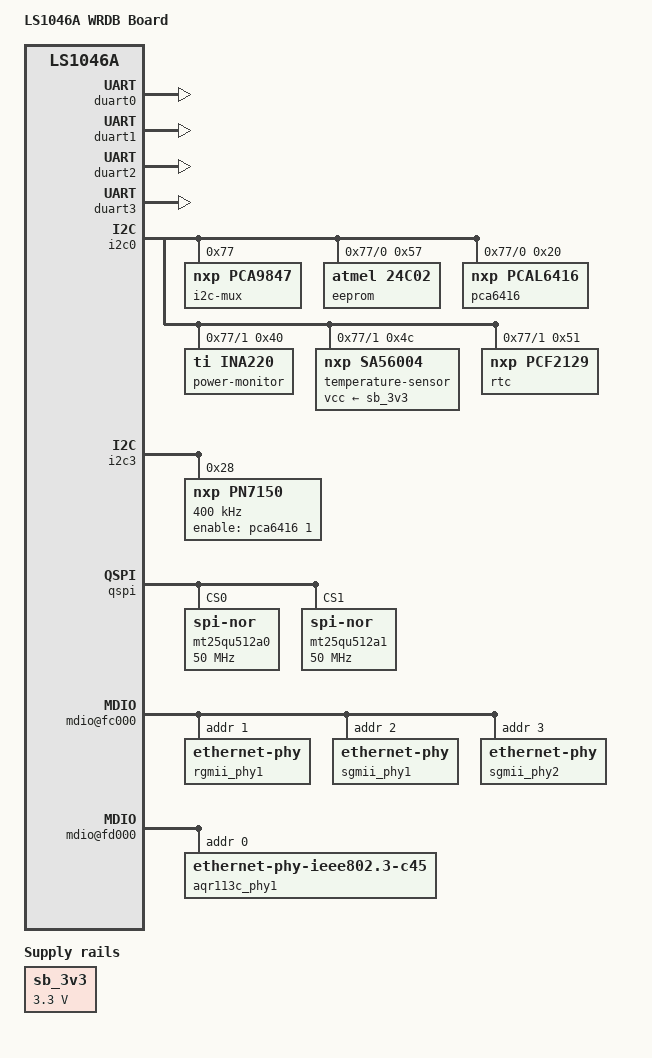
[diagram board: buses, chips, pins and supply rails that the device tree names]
// SPDX-License-Identifier: (GPL-2.0+ OR MIT)
/*
 * Device Tree Include file for Freescale Layerscape LS1046A WRDB Board.
 *
 * Copyright 2020 NXP
 *
 */

/dts-v1/;

#include <dt-bindings/gpio/gpio.h>
#include "fsl-ls1046a.dtsi"

/ {
	model = "LS1046A WRDB Board";
	compatible = "fsl,ls1046a-wrdb", "fsl,ls1046a";

	aliases {
		serial0 = &duart0;
		serial1 = &duart1;
		serial2 = &duart2;
		serial3 = &duart3;
	};

	chosen {
		stdout-path = "serial0:115200n8";
	};

	sb_3v3: regulator-sb3v3 {
		compatible = "regulator-fixed";
		regulator-name = "LT8609SEV-3.3V";
		regulator-min-microvolt = <3300000>;
		regulator-max-microvolt = <3300000>;
		regulator-boot-on;
		regulator-always-on;
	};
};

&duart0 {
	status = "okay";
};

&duart1 {
	status = "okay";
};

&duart2 {
	status = "okay";
};

&duart3 {
	status = "okay";
};

&i2c0 {
	status = "okay";

	i2c-mux@77 {
		compatible = "nxp,pca9847";
		reg = <0x77>;
		#address-cells = <1>;
		#size-cells = <0>;

		i2c@0 {
			#address-cells = <1>;
			#size-cells = <0>;
			reg = <0>;

			eeprom@57 {
				compatible = "atmel,24c02";
				reg = <0x57>;
			};

			pca6416: gpio@20 {
				compatible = "nxp,pcal6416";
				reg = <0x20>;
				gpio-controller;
				#gpio-cells = <2>;
			};
		};

		i2c@1 {
			#address-cells = <1>;
			#size-cells = <0>;
			reg = <1>;

			power-monitor@40 {
				compatible = "ti,ina220";
				reg = <0x40>;
				shunt-resistor = <1000>;
			};

			temperature-sensor@4c {
				compatible = "nxp,sa56004";
				reg = <0x4c>;
				vcc-supply = <&sb_3v3>;
			};

			rtc@51 {
				compatible = "nxp,pcf2129";
				reg = <0x51>;
			};
		};
	};
};

&i2c3 {
	status = "okay";

	pn7150: pn7150@28 {
		compatible = "nxp,pn7150", "nxp,pn547";
		reg = <0x28>;
		clock-frequency = <400000>;
		//interrupt-gpios = <&gpio0 23 GPIO_ACTIVE_HIGH>;
		//irq-trigger-level = <IRQ_TYPE_LEVEL_HIGH>;
		poll-mode;
		enable-gpios = <&pca6416 1 GPIO_ACTIVE_HIGH>;
	};
};

&qspi {
	status = "okay";

	mt25qu512a0: flash@0 {
		compatible = "jedec,spi-nor";
		#address-cells = <1>;
		#size-cells = <1>;
		spi-max-frequency = <50000000>;
		reg = <0>;
		spi-rx-bus-width = <4>;
		spi-tx-bus-width = <4>;
	};

	mt25qu512a1: flash@1 {
		compatible = "jedec,spi-nor";
		#address-cells = <1>;
		#size-cells = <1>;
		spi-max-frequency = <50000000>;
		reg = <1>;
		spi-rx-bus-width = <4>;
		spi-tx-bus-width = <4>;
	};
};

#include "fsl-ls1046-post.dtsi"

&fman0 {
	ethernet@e4000 {
                phy-handle = <&rgmii_phy1>;
                phy-connection-type = "rgmii";
        };

	ethernet@e8000 {
                phy-handle = <&sgmii_phy1>;
                phy-connection-type = "sgmii";
        };

	ethernet@ea000 {
                phy-handle = <&sgmii_phy2>;
                phy-connection-type = "sgmii";
        };

	ethernet@f0000 { /* 10GEC1 */
		fixed-link = <0 1 1000 0 0>;
		phy-connection-type = "xgmii";
		status = "disabled";
	};

	ethernet@f2000 {
		phy-handle = <&aqr113c_phy1>;
		phy-connection-type = "xfi";
	};

	mdio@fc000 {
                rgmii_phy1: ethernet-phy@1 {
                        reg = <0x1>;
                };

                sgmii_phy1: ethernet-phy@2 {
                        reg = <0x2>;
                };

                sgmii_phy2: ethernet-phy@3 {
                        reg = <0x3>;
                };
        };

	mdio@fd000 {
		aqr113c_phy1: ethernet-phy@0 {
			compatible = "ethernet-phy-ieee802.3-c45";
			reg = <0x0>;
		};
	};
};
